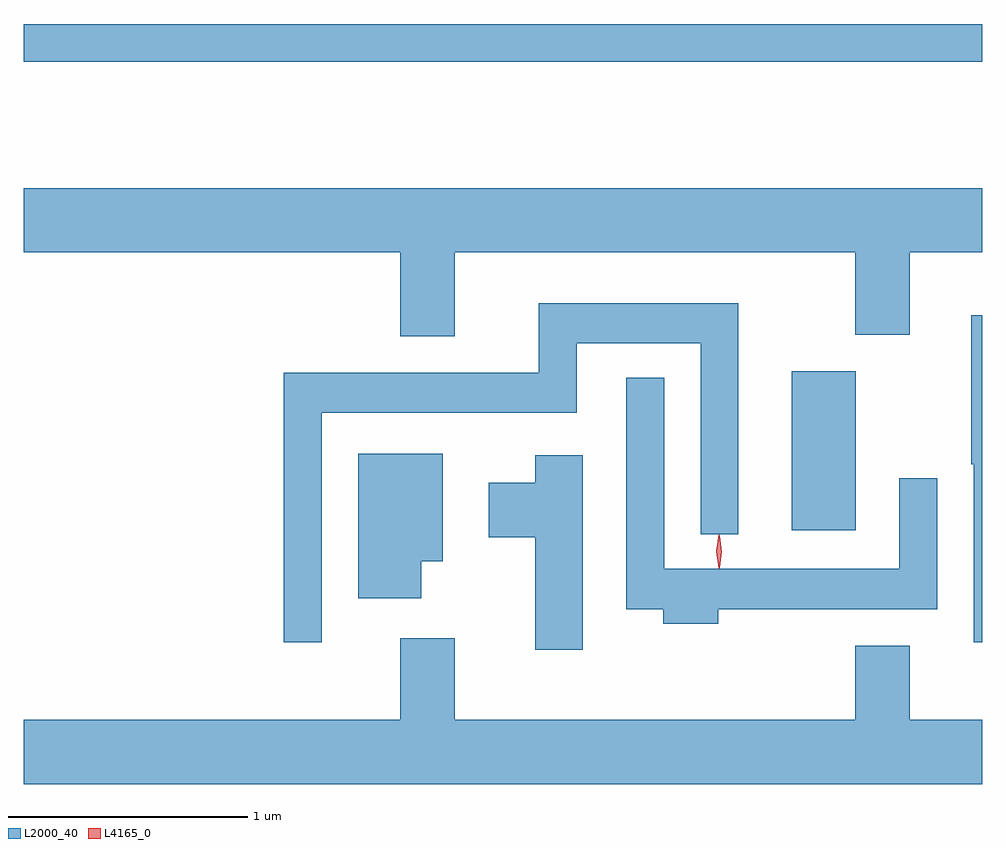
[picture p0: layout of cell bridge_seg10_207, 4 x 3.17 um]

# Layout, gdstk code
import gdstk
lib = gdstk.Library(unit=1e-6, precision=1e-09)
def R(c, l, rs):  # rectangles x0, y0, x1, y1
    for r in rs: c.add(gdstk.rectangle(r[:2], r[2:], *l))
def P(c, l, *ps):  # polygons
    for p in ps: c.add(gdstk.Polygon(p, *l))
L2000_40 = (2000, 40)
L4165_0 = (4165, 0)

bridge_seg10_207 = lib.new_cell('bridge_seg10_207')
R(bridge_seg10_207, L2000_40, [(1737.436,2090.556,1737.704,2091.219), (1734.231,2092.511,1738.231,2092.669)])
P(bridge_seg10_207, L2000_40, [(1736.029,2091.716),(1737.701,2091.716),(1737.701,2091.371),(1737.929,2091.371),(1737.929,2091.716),(1738.231,2091.716),(1738.231,2091.984),(1734.231,2091.984),(1734.231,2091.716),(1735.801,2091.716),(1735.801,2091.366),(1736.029,2091.366)],
  [(1735.474,2091.046),(1736.539,2091.046),(1736.539,2091.336),(1737.056,2091.336),(1737.056,2090.538),(1737.214,2090.538),(1737.214,2091.504),(1736.381,2091.504),(1736.381,2091.214),(1735.316,2091.214),(1735.316,2090.088),(1735.474,2090.088)],
  [(1738.231,2091.454),(1738.186,2091.454),(1738.186,2090.83),(1738.196,2090.83),(1738.196,2090.088),(1738.231,2090.088)],
  [(1737.129,2090.226),(1738.044,2090.226),(1738.044,2090.773),(1737.886,2090.773),(1737.886,2090.394),(1736.904,2090.394),(1736.904,2091.193),(1736.746,2091.193),(1736.746,2090.226),(1736.901,2090.226),(1736.901,2090.166),(1737.129,2090.166)],
  [(1735.889,2090.426),(1735.979,2090.426),(1735.979,2090.874),(1735.626,2090.874),(1735.626,2090.271),(1735.889,2090.271)],
  [(1736.564,2090.869),(1736.366,2090.869),(1736.366,2090.754),(1736.171,2090.754),(1736.171,2090.526),(1736.366,2090.526),(1736.366,2090.056),(1736.564,2090.056)],
  [(1738.231,2089.764),(1737.929,2089.764),(1737.929,2090.074),(1737.701,2090.074),(1737.701,2089.764),(1736.029,2089.764),(1736.029,2090.104),(1735.801,2090.104),(1735.801,2089.764),(1734.231,2089.764),(1734.231,2089.496),(1738.231,2089.496)])
P(bridge_seg10_207, L4165_0, [(1737.135,2090.399),(1737.134,2090.4),(1737.125,2090.466),(1737.134,2090.532),(1737.135,2090.533),(1737.136,2090.532),(1737.145,2090.466),(1737.136,2090.4)],
  [(1737.132,2090.397),(1737.132,2090.397),(1737.122,2090.467),(1737.132,2090.536),(1737.132,2090.536),(1737.133,2090.536),(1737.142,2090.467),(1737.133,2090.397)])

lib.write_gds('bridge_seg10_207.gds')
